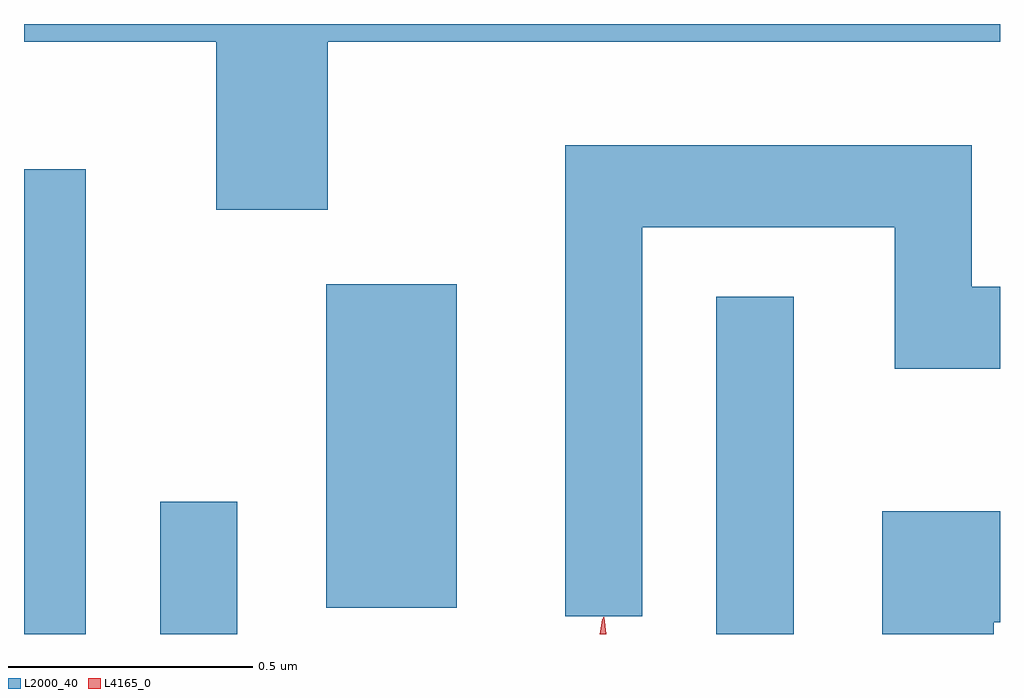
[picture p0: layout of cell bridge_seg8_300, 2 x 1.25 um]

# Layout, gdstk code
import gdstk
lib = gdstk.Library(unit=1e-6, precision=1e-09)
def R(c, l, rs):  # rectangles x0, y0, x1, y1
    for r in rs: c.add(gdstk.rectangle(r[:2], r[2:], *l))
def P(c, l, *ps):  # polygons
    for p in ps: c.add(gdstk.Polygon(p, *l))
L2000_40 = (2000, 40)
L4165_0 = (4165, 0)

bridge_seg8_300 = lib.new_cell('bridge_seg8_300')
R(bridge_seg8_300, L2000_40, [(1377.187,1806.342,1377.314,1807.294), (1377.466,1806.342,1377.624,1806.613), (1378.606,1806.342,1378.764,1807.033), (1377.806,1806.396,1378.074,1807.059)])
P(bridge_seg8_300, L2000_40, [(1377.809,1807.556),(1379.187,1807.556),(1379.187,1807.592),(1377.187,1807.592),(1377.187,1807.556),(1377.581,1807.556),(1377.581,1807.211),(1377.809,1807.211)],
  [(1378.454,1807.176),(1378.971,1807.176),(1378.971,1806.886),(1379.187,1806.886),(1379.187,1807.054),(1379.129,1807.054),(1379.129,1807.344),(1378.296,1807.344),(1378.296,1806.378),(1378.454,1806.378)],
  [(1379.174,1806.366),(1379.187,1806.366),(1379.187,1806.594),(1378.946,1806.594),(1378.946,1806.342),(1379.174,1806.342)])
P(bridge_seg8_300, L4165_0, [(1378.37,1806.342),(1378.374,1806.376),(1378.376,1806.376),(1378.38,1806.342)],
  [(1378.367,1806.342),(1378.372,1806.372),(1378.372,1806.373),(1378.373,1806.372),(1378.377,1806.342)])

lib.write_gds('bridge_seg8_300.gds')
